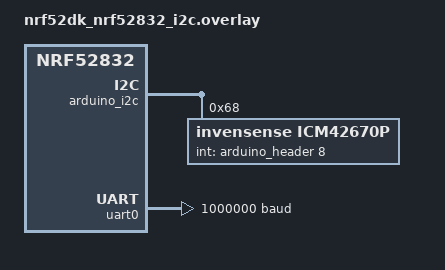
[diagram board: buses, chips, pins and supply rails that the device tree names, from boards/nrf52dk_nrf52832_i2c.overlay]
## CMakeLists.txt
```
#
# Copyright (c) 2024 TDK Invensense
#
# SPDX-License-Identifier: Apache-2.0
#

cmake_minimum_required(VERSION 3.28.0)
find_package(Zephyr REQUIRED HINTS $ENV{ZEPHYR_BASE})
project(6dof_motion_drdy)

FILE(GLOB app_sources src/*.c)
target_sources(app PRIVATE ${app_sources})
```

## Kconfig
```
# Copyright (c) 2024, TDK Invensense
# SPDX-License-Identifier: Apache-2.0

# Trigger mode: sample is using interrupt triggering
choice ICM42670_TRIGGER_MODE
	default ICM42670_TRIGGER_OWN_THREAD
endchoice

source "Kconfig.zephyr"
```

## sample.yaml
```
sample:
  name: 6DOF Motion dataready sample
tests:
  sample.sensor.6dof_motion_drdy:
    build_only: true
    tags: sensors
    filter: dt_alias_exists("6dof_motion_drdy0")
    integration_platforms:
      - nrf52dk/nrf52832
```

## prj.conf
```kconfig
#
# Copyright (c) 2024 TDK Invensense
#
# SPDX-License-Identifier: Apache-2.0
#

CONFIG_SENSOR=y
CONFIG_LOG=y
CONFIG_SENSOR_LOG_LEVEL_DBG=n

# Floating point format support
# Selecting this increases stack size requirements slightly, but increases code size significantly.
CONFIG_CBPRINTF_FP_SUPPORT=y

# nrf52dk/nrf52832 specific
CONFIG_USE_SEGGER_RTT=n

# Trigger mode: sample is using interrupt triggering
CONFIG_ICM42670_TRIGGER_OWN_THREAD=y
```

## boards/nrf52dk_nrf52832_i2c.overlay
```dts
/*
 * Copyright (c) 2024, TDK Invensense
 *
 * SPDX-License-Identifier: Apache-2.0
 */

/*
 * Get a node identifier for 6-axis IMU sensor.
 */
/ {
	aliases {
		6dof-motion-drdy0 = &icm42670p;
	};
};

/*
 * Example configuration of a ICM42670-P device on i2c0 compatible with an Arduino I2C bus.
 *
 * Device address 0x68 is assumed. Your device may have a different
 * address; check your device documentation if unsure.
 *
 * Configure 100Hz IMU data reporting
 */
&arduino_i2c {
	status = "okay";

	icm42670p: icm42670p@68 {
		compatible = "invensense,icm42670p";
		reg = <0x68>;
		int-gpios = <&arduino_header 8 GPIO_ACTIVE_HIGH>; /* D2 */
		accel-hz = <100>;
		gyro-hz = <100>;
		accel-fs = <16>;
		gyro-fs = <2000>;
	};
};

/*
 * Increase native UART speed to report all IMU data at 100Hz.
 */
&uart0 {
	compatible = "nordic,nrf-uarte";
	current-speed = <1000000>;
};
```

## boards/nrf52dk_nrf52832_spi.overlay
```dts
/*
 * Copyright (c) 2024, TDK Invensense
 *
 * SPDX-License-Identifier: Apache-2.0
 */

/*
 * Get a node identifier for 6-axis IMU sensor.
 */
/ {
	aliases {
		6dof-motion-drdy0 = &icm42670p;
	};
};

/* Example configuration of a ICM42670-P device on spi2 compatible with an Arduino SPI bus.
 *
 * Configure 100Hz IMU data reporting
 */
&arduino_spi {
	cs-gpios = <&arduino_header 14 GPIO_ACTIVE_LOW>; /* D8 */
	status = "okay";

	icm42670p: icm42670p@0 {
		compatible = "invensense,icm42670p";
		reg = <0>;
		spi-max-frequency = <1000000>; /* conservatively set to 1MHz */
		int-gpios = <&arduino_header 8 GPIO_ACTIVE_HIGH>; /* D2 */
		accel-hz = <100>;
		gyro-hz = <100>;
		accel-fs = <16>;
		gyro-fs = <2000>;
	};
};

/*
 * Increase native UART speed to report all IMU data at 100Hz.
 */
&uart0 {
	compatible = "nordic,nrf-uarte";
	current-speed = <1000000>;
};
```

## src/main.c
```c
/*
 * Copyright (c) 2024 TDK Invensense
 *
 * SPDX-License-Identifier: Apache-2.0
 */

#include <zephyr/kernel.h>
#include <zephyr/device.h>
#include <zephyr/devicetree.h>
#include <zephyr/drivers/sensor.h>
#include <stdio.h>

static struct sensor_trigger data_trigger;

/* Flag set from IMU device irq handler */
static volatile int irq_from_device;

/*
 * Get a device structure from a devicetree node from alias
 * "6dof_motion_drdy0".
 */
static const struct device *get_6dof_motion_device(void)
{
	const struct device *const dev = DEVICE_DT_GET(DT_ALIAS(6dof_motion_drdy0));

	if (!device_is_ready(dev)) {
		printk("\nError: Device \"%s\" is not ready; "
		       "check the driver initialization logs for errors.\n",
		       dev->name);
		return NULL;
	}

	printk("Found device \"%s\", getting sensor data\n", dev->name);
	return dev;
}

static const char *now_str(void)
{
	static char buf[16]; /* ...HH:MM:SS.MMM */
	uint32_t now = k_uptime_get_32();
	unsigned int ms = now % MSEC_PER_SEC;
	unsigned int s;
	unsigned int min;
	unsigned int h;

	now /= MSEC_PER_SEC;
	s = now % 60U;
	now /= 60U;
	min = now % 60U;
	now /= 60U;
	h = now;

	snprintf(buf, sizeof(buf), "%u:%02u:%02u.%03u", h, min, s, ms);
	return buf;
}

static void handle_6dof_motion_drdy(const struct device *dev, const struct sensor_trigger *trig)
{
	if (trig->type == SENSOR_TRIG_DATA_READY) {
		int rc = sensor_sample_fetch_chan(dev, trig->chan);

		if (rc < 0) {
			printf("sample fetch failed: %d\n", rc);
			printf("cancelling trigger due to failure: %d\n", rc);
			(void)sensor_trigger_set(dev, trig, NULL);
			return;
		} else if (rc == 0) {
			irq_from_device = 1;
		}
	}
}

int main(void)
{
	const struct device *dev = get_6dof_motion_device();
	struct sensor_value accel[3];
	struct sensor_value gyro[3];
	struct sensor_value temperature;

	if (dev == NULL) {
		return 0;
	}

	data_trigger = (struct sensor_trigger){
		.type = SENSOR_TRIG_DATA_READY,
		.chan = SENSOR_CHAN_ALL,
	};
	if (sensor_trigger_set(dev, &data_trigger, handle_6dof_motion_drdy) < 0) {
		printf("Cannot configure data trigger!!!\n");
		return 0;
	}

	k_sleep(K_MSEC(1000));

	while (1) {

		if (irq_from_device) {
			sensor_channel_get(dev, SENSOR_CHAN_ACCEL_XYZ, accel);
			sensor_channel_get(dev, SENSOR_CHAN_GYRO_XYZ, gyro);
			sensor_channel_get(dev, SENSOR_CHAN_DIE_TEMP, &temperature);

			printf("[%s]: temp %.2f Cel "
			       "  accel %f %f %f m/s/s "
			       "  gyro  %f %f %f rad/s\n",
			       now_str(), sensor_value_to_double(&temperature),
			       sensor_value_to_double(&accel[0]), sensor_value_to_double(&accel[1]),
			       sensor_value_to_double(&accel[2]), sensor_value_to_double(&gyro[0]),
			       sensor_value_to_double(&gyro[1]), sensor_value_to_double(&gyro[2]));
			irq_from_device = 0;
		}
	}
	return 0;
}
```
